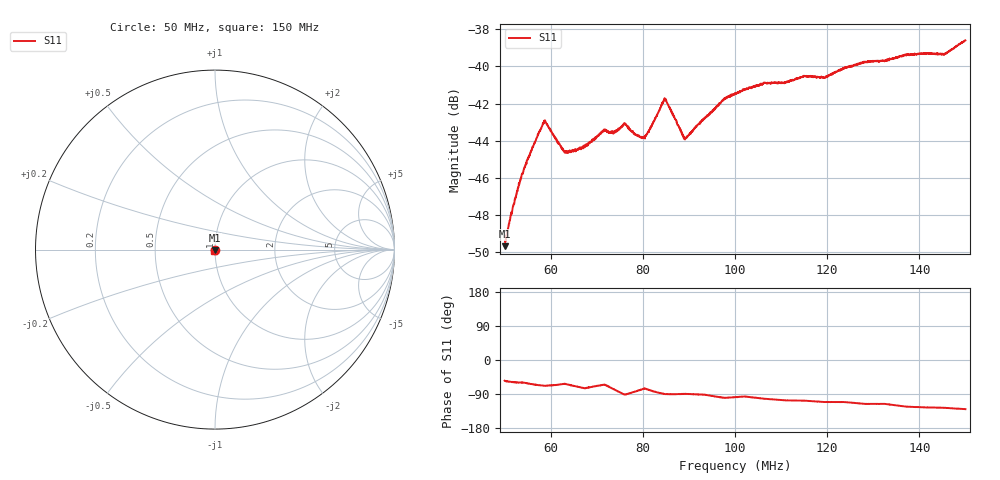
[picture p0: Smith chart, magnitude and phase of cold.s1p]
! COPPER MOUNTAIN TECHNOLOGIES, PLANAR TR1300/1, 00090118, 19.1.1/1.0
! Date: 11/26/2019 3:00:19 PM
! Data: Format [Calibration Info]
! Freq  S11: Re/Im F1
# HZ S RI R 50
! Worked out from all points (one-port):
!   2001 points, 50 MHz to 150 MHz, reference 50 ohm
!   lowest |S11| = -49.7 dB at 50 MHz (marker M1), VSWR 1.01, Z = 50.2 - j0.268 ohm
!   |S11| at or under -10 dB: start of sweep to end of sweep
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5e7  0.0019 -0.00267
5.18e7  0.00219 -0.00357
5.38e7  0.00262 -0.00442
5.835e7  0.0027 -0.00651
5.905e7  0.00265 -0.00651
6.25e7  0.00266 -0.0054
6.345e7  0.00257 -0.00527
6.54e7  0.00208 -0.00552
7.15e7  0.00279 -0.00607
7.355e7  0.00157 -0.00645
7.5e7  0.000559 -0.00677
7.625e7  -9.94e-05 -0.00697
7.845e7  0.000793 -0.00649
8.03e7  0.00166 -0.00626
8.47e7  5.55e-05 -0.00821
8.75e7  7.37e-06 -0.00698
8.87e7  1.49e-05 -0.00656
8.94e7  6.13e-05 -0.00643
9.755e7  -0.00135 -0.00802
1e8  -0.00118 -0.00838
1.0615e8  -0.00185 -0.00882
1.125e8  -0.00263 -0.00879
1.1515e8  -0.00283 -0.009
1.195e8  -0.00332 -0.00871
1.25e8  -0.00376 -0.00925
1.375e8  -0.0059 -0.00902
1.454e8  -0.00638 -0.00871
1.5e8  -0.00752 -0.00904
